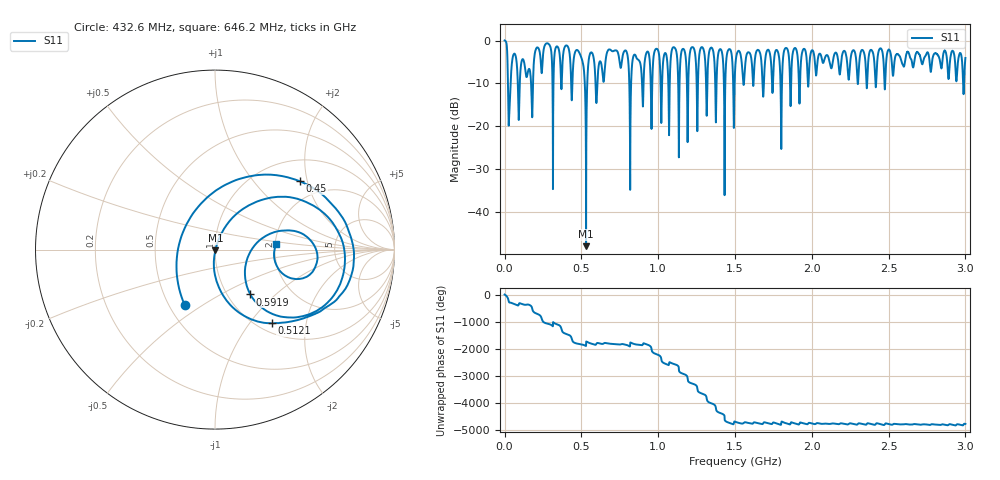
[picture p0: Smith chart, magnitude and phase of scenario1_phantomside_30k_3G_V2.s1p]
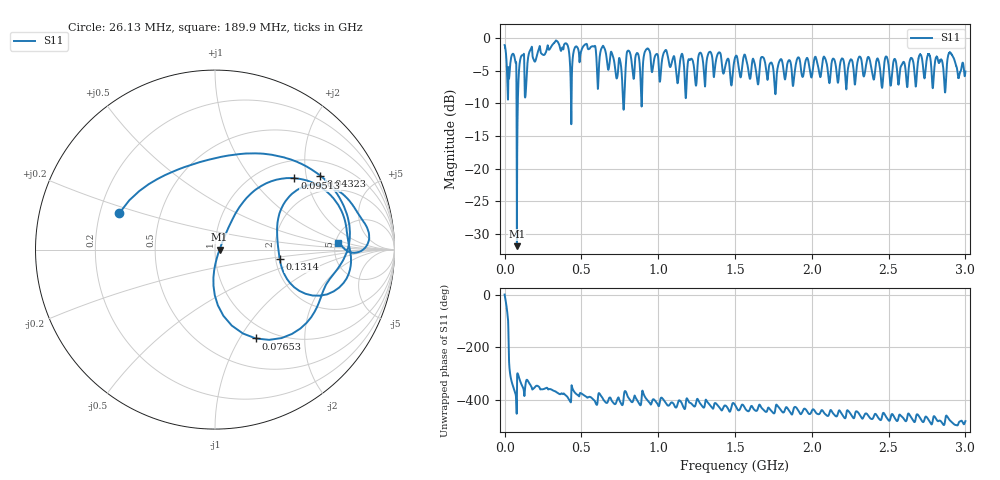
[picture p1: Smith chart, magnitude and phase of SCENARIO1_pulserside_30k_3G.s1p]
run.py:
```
"""Replay calibrated common-mode impedance at the published VNA frequencies."""

from __future__ import annotations

import argparse
import hashlib
import json
import sys
from pathlib import Path
from typing import Any

import matplotlib
import numpy as np
import pandas as pd
import yaml

matplotlib.use("Agg")
import matplotlib.pyplot as plt

ROOT = Path(__file__).resolve().parents[3]
if str(ROOT) not in sys.path:
    sys.path.insert(0, str(ROOT))

from pcd.analysis import input_impedance  # noqa: E402
from pcd.api import load_case, run_case_study  # noqa: E402
from pcd.records import load_frequency_response  # noqa: E402
from pcd.results import read_best_candidate, selected_evaluation  # noqa: E402
from pcd.validation import validate_case  # noqa: E402

HERE = Path(__file__).resolve().parent
SOURCES = {
    "phantom_side": (
        "scenario1_phantomside_30k_3G_V2.s1p",
        "74a0c1445afbbe373aa781a970af63e8e00b9c5a4f0c0cd7f20270fd7425d714",
    ),
    "pulser_side": (
        "SCENARIO1_pulserside_30k_3G.s1p",
        "80c5764492c563f4ff6c13dc06f5ec108f0bd60991084d07c292ec27b50d59f0",
    ),
}
ANCHORS_MHZ = (3.0, 5.0, 8.0, 13.56, 20.0, 27.12)
REFERENCE_OHM = 50.0
ALTERNATE_OHM = 75.0


def read_source(path: Path, expected_sha: str) -> pd.DataFrame:
    raw = path.read_bytes()
    if hashlib.sha256(raw).hexdigest() != expected_sha:
        raise ValueError(f"source checksum differs from the archived version: {path.name}")
    lines = raw.decode("ascii").splitlines()
    options = [line.lower().split() for line in lines if line.startswith("#")]
    if options != [["#", "hz", "s", "db", "r", "50"]]:
        raise ValueError(f"expected one-port S11 in Hz, dB/degree at 50 ohms: {path.name}")
    data = [line for line in lines if line.strip() and not line.startswith(("!", "#"))]
    hz, db, degrees = np.loadtxt(data, unpack=True)
    if not np.all(np.isfinite([hz, db, degrees])) or not np.all(np.diff(hz) > 0):
        raise ValueError(f"source samples must be finite and in increasing frequency order: {path.name}")
    gamma = 10 ** (db / 20) * np.exp(1j * np.deg2rad(degrees))
    impedance = REFERENCE_OHM * (1 + gamma) / (1 - gamma)
    # Directly transform the measured scattering coefficient at the same plane.
    offset = (REFERENCE_OHM - ALTERNATE_OHM) / (REFERENCE_OHM + ALTERNATE_OHM)
    gamma_75 = (gamma + offset) / (1 + offset * gamma)
    return pd.DataFrame({"frequency_Hz": hz, "impedance": impedance, "gamma_50": gamma, "gamma_75": gamma_75})


def replay_case(
    plane: str, points: list[tuple[float, complex, complex, complex]], root: Path, reference_ohm: float
) -> dict[str, Any]:
    scenarios = [
        {
            "id": f"point_{index + 1}",
            "values": {
                "frequency_Hz": frequency,
                "R_load": impedance.real,
                "X_load": impedance.imag,
            },
        }
        for index, (frequency, impedance, _, _) in enumerate(points)
    ]
    defaults = scenarios[0]["values"]
    case_data = {
        "schema": "case_yaml.v1",
        "case_id": plane,
        "variables": {name: {"role": "operating", "default": value} for name, value in defaults.items()},
        "source": {"type": "sine_voltage", "amplitude_V": 1, "frequency_Hz": "$frequency_Hz"},
        "circuit": {"output_node": "src", "components": []},
        "load": {
            "name": "impedance_point",
            "resistance_ohm": "$R_load",
            "reactance_ohm": "$X_load",
            "model_frequency_Hz": "$frequency_Hz",
            "reference_plane": f"scenario_1_{plane}_common_mode_sma",
            "characterization": {"source": "https://doi.org/10.5281/zenodo.10016478", "method": "VNA S11"},
        },
        "measurement": {"reference_impedance_ohm": reference_ohm},
        "solver": {"ac": {"sweep": "lin", "points": 1, "start_Hz": "$frequency_Hz", "stop_Hz": "$frequency_Hz"}},
        "target": {"objective": "impedance_match"},
        "study": {"scenarios": scenarios},
        "optimizer": {"name": "grid", "seed": 0},
        "run": {"trials": 1},
    }
    case_path = root / f"{plane}_{reference_ohm:g}ohm.yaml"
    case_path.write_text(yaml.safe_dump(case_data, sort_keys=False), encoding="utf-8")
    case = load_case(case_path)
    report = validate_case(case)
    if not report.ok:
        raise ValueError(report.format_text())
    return run_case_study(case, root / "studies" / f"{reference_ohm:g}ohm")


def read_point(
    study_root: Path, scenario: dict[str, Any], frequency: float, reference_ohm: float
) -> tuple[complex, complex, float, float]:
    evaluation = selected_evaluation(scenario)
    raw = evaluation["raw"]
    if raw["status"] != "ok" or evaluation["from_cache"] is not False:
        raise ValueError(f"selected VNA point lacks a fresh successful solve: {study_root}")
    manifest = study_root / raw["artifacts"]["manifest"]
    ac = load_frequency_response(manifest)
    if len(ac) != 1 or not np.isclose(ac.iloc[0]["frequency_Hz"], frequency, rtol=1e-12, atol=0):
        raise ValueError(f"simulation did not evaluate the source frequency: {manifest}")
    row = input_impedance(ac, reference_ohm).iloc[0]
    z = complex(row["resistance_ohm"], row["reactance_ohm"])
    gamma = complex(row["reflection_re"], row["reflection_im"])
    metrics = evaluation["metrics"]
    reported = float(metrics["reflection_magnitude"])
    reported_reference = float(metrics["reference_impedance_ohm"])
    if not np.isfinite([z.real, z.imag, gamma.real, gamma.imag, reported, reported_reference]).all():
        raise ValueError(f"VNA replay contains a non-finite point: {manifest}")
    return z, gamma, reported, reported_reference


def compare(plane: str, source: pd.DataFrame, root: Path) -> tuple[pd.DataFrame, dict[str, Any]]:
    hz = source["frequency_Hz"].to_numpy(float)
    indices = [int(np.argmin(np.abs(hz - target * 1e6))) for target in ANCHORS_MHZ]
    if len(set(indices)) != len(ANCHORS_MHZ):
        raise ValueError(f"source must provide a distinct sample for each replay anchor: {plane}")
    selected = source.iloc[indices]
    points = [
        (float(frequency), complex(impedance), complex(gamma_50), complex(gamma_75))
        for frequency, impedance, gamma_50, gamma_75 in zip(
            selected["frequency_Hz"].to_numpy(),
            selected["impedance"].to_numpy(),
            selected["gamma_50"].to_numpy(),
            selected["gamma_75"].to_numpy(),
            strict=True,
        )
    ]
    if any(impedance.real <= 0 for _, impedance, _, _ in points):
        raise ValueError(f"selected points must support a passive series equivalent: {plane}")
    replays = []
    for reference in (REFERENCE_OHM, ALTERNATE_OHM):
        study = replay_case(plane, points, root, reference)
        study_root = Path(study["run_root"])
        if study["verification"]["status"] != "verified":
            raise ValueError(f"VNA study did not verify its selected points: {study_root}")
        scenarios = read_best_candidate(study_root)["scenarios"]
        by_id = {scenario["scenario"]["scenario_id"]: scenario for scenario in scenarios}
        if len(scenarios) != len(points) or set(by_id) != {f"point_{i + 1}" for i in range(len(points))}:
            raise ValueError(f"VNA study does not cover the expected points: {study_root}")
        replays.append((reference, study, study_root, by_id))
    rows = []
    for index, (frequency, impedance, gamma_50, gamma_75) in enumerate(points, start=1):
        primary, alternate = (
            read_point(study_root, by_id[f"point_{index}"], frequency, reference)
            for reference, _, study_root, by_id in replays
        )
        z, g50, reported_50, reference_50 = primary
        z75, g75, reported_75, reference_75 = alternate
        reflection = {
            "measured_gamma_50": gamma_50,
            "simulated_gamma_50": g50,
            "renormalized_gamma_75": gamma_75,
            "simulated_gamma_75": g75,
        }
        rows.append(
            {
                "plane": plane,
                "frequency_Hz": frequency,
                "measured_R_ohm": impedance.real,
                "measured_X_ohm": impedance.imag,
                "simulated_R_ohm": z.real,
                "simulated_X_ohm": z.imag,
                **{f"{name}_real": value.real for name, value in reflection.items()},
                **{f"{name}_imag": value.imag for name, value in reflection.items()},
                **{f"{name}_magnitude": abs(value) for name, value in reflection.items()},
                "impedance_error_ohm": max(abs(z - impedance), abs(z75 - impedance)),
                "gamma_50_error": abs(g50 - gamma_50),
                "gamma_75_error": abs(g75 - gamma_75),
                "reported_reference_50_ohm": reference_50,
                "reported_reference_75_ohm": reference_75,
                "reported_gamma_50_magnitude": reported_50,
                "reported_gamma_75_magnitude": reported_75,
                "wrong_reference_gamma_error": abs(gamma_75 - gamma_50),
            }
        )
    evidence = pd.DataFrame(rows)
    return evidence, {
        "study_results_by_reference_ohm": {
            f"{reference:g}": (study_root / "study_result.json").relative_to(root).as_posix()
            for reference, _, study_root, _ in replays
        },
        "source_samples": len(source),
        "samples_outside_passive_disk": int(np.count_nonzero(np.abs(source["gamma_50"]) > 1)),
        "solver_evaluations": sum(
            study["n_evaluations"] + study["verification"]["n_evaluations"] for _, study, _, _ in replays
        ),
        "max_impedance_error_ohm": float(evidence["impedance_error_ohm"].max()),
        "max_gamma_50_error": float(evidence["gamma_50_error"].max()),
        "max_gamma_75_error": float(evidence["gamma_75_error"].max()),
        "max_wrong_reference_gamma_error": float(evidence["wrong_reference_gamma_error"].max()),
    }


def plot(sources: dict[str, pd.DataFrame], evidence: pd.DataFrame, path: Path) -> None:
    figure, axes = plt.subplots(2, 2, figsize=(10, 6), sharex=True, sharey="row", layout="constrained")
    for column, (plane, source) in enumerate(sources.items()):
        band = source[source["frequency_Hz"].between(1e6, 30e6)]
        points = evidence[evidence["plane"] == plane]
        top, bottom = axes[:, column]
        hz = band["frequency_Hz"] / 1e6
        for label, suffix, values, color in (
            ("R", "R", np.real(band["impedance"]), "tab:blue"),
            ("X", "X", np.imag(band["impedance"]), "tab:orange"),
        ):
            top.plot(hz, values, color=color, label=f"Measured {label}")
            top.scatter(points["frequency_Hz"] / 1e6, points[f"simulated_{suffix}_ohm"], color=color, s=17)
        for reference, label, color in ((50, "VNA 50 Ω", "tab:blue"), (75, "Same plane, 75 Ω", "tab:green")):
            bottom.plot(hz, np.abs(band[f"gamma_{reference}"]), color=color, label=label)
            bottom.scatter(
                points["frequency_Hz"] / 1e6, points[f"simulated_gamma_{reference}_magnitude"], color=color, s=17
            )
        outside = np.abs(band["gamma_50"]) > 1
        if outside.any():
            bottom.scatter(
                hz[outside],
                np.abs(band.loc[outside, "gamma_50"]),
                marker="x",
                color="tab:red",
                label="Outside passive disk",
                zorder=4,
            )
        top.set(title=plane.replace("_", " ").title(), ylabel="Impedance [Ω]", yscale="symlog")
        bottom.set(xlabel="Frequency [MHz]", ylabel="Reflection magnitude")
        bottom.axhline(1, color="0.6", linestyle=":", linewidth=0.8)
        for axis in (top, bottom):
            axis.grid(alpha=0.25)
            axis.legend(loc="best", fontsize=8)
    figure.suptitle("Published common-mode fixtures · markers: ngspice point replay")
    figure.savefig(path, dpi=160)
    plt.close(figure)


def main() -> int:
    parser = argparse.ArgumentParser(description=__doc__)
    parser.add_argument("--run-root", required=True, type=Path)
    root = parser.parse_args().run_root.resolve()
    root.mkdir(parents=True, exist_ok=False)
    sources = {plane: read_source(HERE / "source" / file, digest) for plane, (file, digest) in SOURCES.items()}
    results = {plane: compare(plane, data, root) for plane, data in sources.items()}
    evidence = pd.concat([table for table, _ in results.values()], ignore_index=True)
    evidence.to_csv(root / "comparison.csv", index=False)
    plot(sources, evidence, root / "comparison.png")
    checks = {
        "replayed_complex_impedance": bool(evidence["impedance_error_ohm"].max() < 1e-3),
        "replayed_complex_reflection_at_source_reference": bool(evidence["gamma_50_error"].max() < 1e-5),
        "replayed_complex_reflection_at_alternate_reference": bool(evidence["gamma_75_error"].max() < 1e-5),
        "case_reference_reaches_reported_measurement": all(
            bool((evidence[f"reported_reference_{reference:g}_ohm"] == reference).all())
            and bool(
                np.allclose(
                    evidence[f"reported_gamma_{reference:g}_magnitude"],
                    evidence[f"{source}_gamma_{reference:g}_magnitude"],
                    rtol=0,
                    atol=1e-5,
                )
            )
            for reference, source in ((REFERENCE_OHM, "measured"), (ALTERNATE_OHM, "renormalized"))
        ),
        "unchanged_reflection_fails_reference_change": bool(evidence["wrong_reference_gamma_error"].max() > 0.1),
    }
    payload = {
        "passed": all(checks.values()),
        "checks": checks,
        "source": "https://doi.org/10.5281/zenodo.10016478",
        "reference_impedance_ohm": REFERENCE_OHM,
        "alternate_reference_impedance_ohm": ALTERNATE_OHM,
        "planes": {
            plane: {"file": SOURCES[plane][0], "sha256": SOURCES[plane][1], **result}
            for plane, (_, result) in results.items()
        },
        "comparison": "comparison.csv",
        "figure": "comparison.png",
    }
    text = json.dumps(payload, indent=2, allow_nan=False) + "\n"
    (root / "benchmark_result.json").write_text(text, encoding="utf-8")
    print(text, end="")
    return 0 if payload["passed"] else 1


if __name__ == "__main__":
    raise SystemExit(main())
```
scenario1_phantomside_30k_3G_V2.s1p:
!Agilent N9914A: A.07.26
!Date: Wednesday, 22 February 2023 10:40:24
!Model: N9914A
!Serial: MY53102584
!GPS Latitude:
!GPS Longitude:
!GPS TimeStamp: 0001-01-01 00:00:00Z
!GPS Seconds Since Last Read: 0
!CHECKSUM:0914277839
!Correction: S11(ON U)
!S1P File: Measurement: S11:
# Hz S DB R 50
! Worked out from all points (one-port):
!   10001 points, 30 kHz to 3 GHz, reference 50 ohm
!   lowest |S11| = -47.9 dB at 530.4 MHz (marker M1), VSWR 1.01, Z = 50.2 - j0.361 ohm
!   |S11| at or under -10 dB: 21.7 MHz to 39.04 MHz (17.33 MHz wide, 57.1 % of centre); 85.9 MHz to 98.73 MHz (12.84 MHz wide, 13.9 % of centre); 522.1 MHz to 538.1 MHz (15.96 MHz wide, 3.01 % of centre)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
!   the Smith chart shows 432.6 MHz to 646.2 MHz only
!   S11 on the Smith chart (normalised r, x): 432.6 MHz: 0.60, -0.42; 450 MHz: 1.49, +1.80; 512.1 MHz: 1.15, -1.29; 591.9 MHz: 1.27, -0.71; 646.2 MHz: 2.03, +0.14
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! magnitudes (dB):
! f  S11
! 30 kHz  0.0
! 33.63 MHz  -14.5
! 61.23 MHz  -3.1
! 275.1 MHz  -0.6
! 432.6 MHz  -9.1
! 450 MHz  -4.3
! 512.1 MHz  -5.7
! 530.4 MHz  -47.9
! 560.1 MHz  -2.8
! 591.9 MHz  -9.9
! 646.2 MHz  -9.3
! 1 GHz  -2.4
! 2 GHz  -2.3
! 3 GHz  -4.1
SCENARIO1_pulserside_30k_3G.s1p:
!Agilent N9914A: A.07.26
!Date: Monday, 20 February 2023 13:56:21
!Model: N9914A
!Serial: MY53102584
!GPS Latitude:
!GPS Longitude:
!GPS TimeStamp: 0001-01-01 00:00:00Z
!GPS Seconds Since Last Read: 0
!CHECKSUM:1681958176
!Correction: S11(ON U)
!S1P File: Measurement: S11:
# Hz S DB R 50
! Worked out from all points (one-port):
!   10001 points, 30 kHz to 3 GHz, reference 50 ohm
!   lowest |S11| = -31.9 dB at 80.13 MHz (marker M1), VSWR 1.05, Z = 52.6 - j0.0294 ohm
!   |S11| at or under -10 dB: 77.7 MHz to 85.9 MHz (8.205 MHz wide, 10 % of centre); 432.4 MHz to 435.6 MHz (3.125 MHz wide, 0.72 % of centre); 771.7 MHz to 778 MHz (6.304 MHz wide, 0.814 % of centre)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
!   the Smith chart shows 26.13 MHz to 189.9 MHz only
!   S11 on the Smith chart (normalised r, x): 26.13 MHz: 0.28, +0.17; 43.23 MHz: 1.43, +2.42; 76.53 MHz: 0.83, -1.18; 95.13 MHz: 1.38, +1.70; 131.4 MHz: 2.10, -0.25; 189.9 MHz: 5.23, +0.72
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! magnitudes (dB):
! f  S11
! 30 kHz  -1.0
! 26.13 MHz  -4.9
! 43.23 MHz  -2.9
! 76.53 MHz  -5.3
! 80.13 MHz  -31.9
! 95.13 MHz  -4.5
! 131.4 MHz  -8.8
! 189.9 MHz  -3.3
! 642 MHz  -1.2
! 773.4 MHz  -10.7
! 806.7 MHz  -1.9
! 1 GHz  -3.0
! 2 GHz  -5.9
! 3 GHz  -5.1
